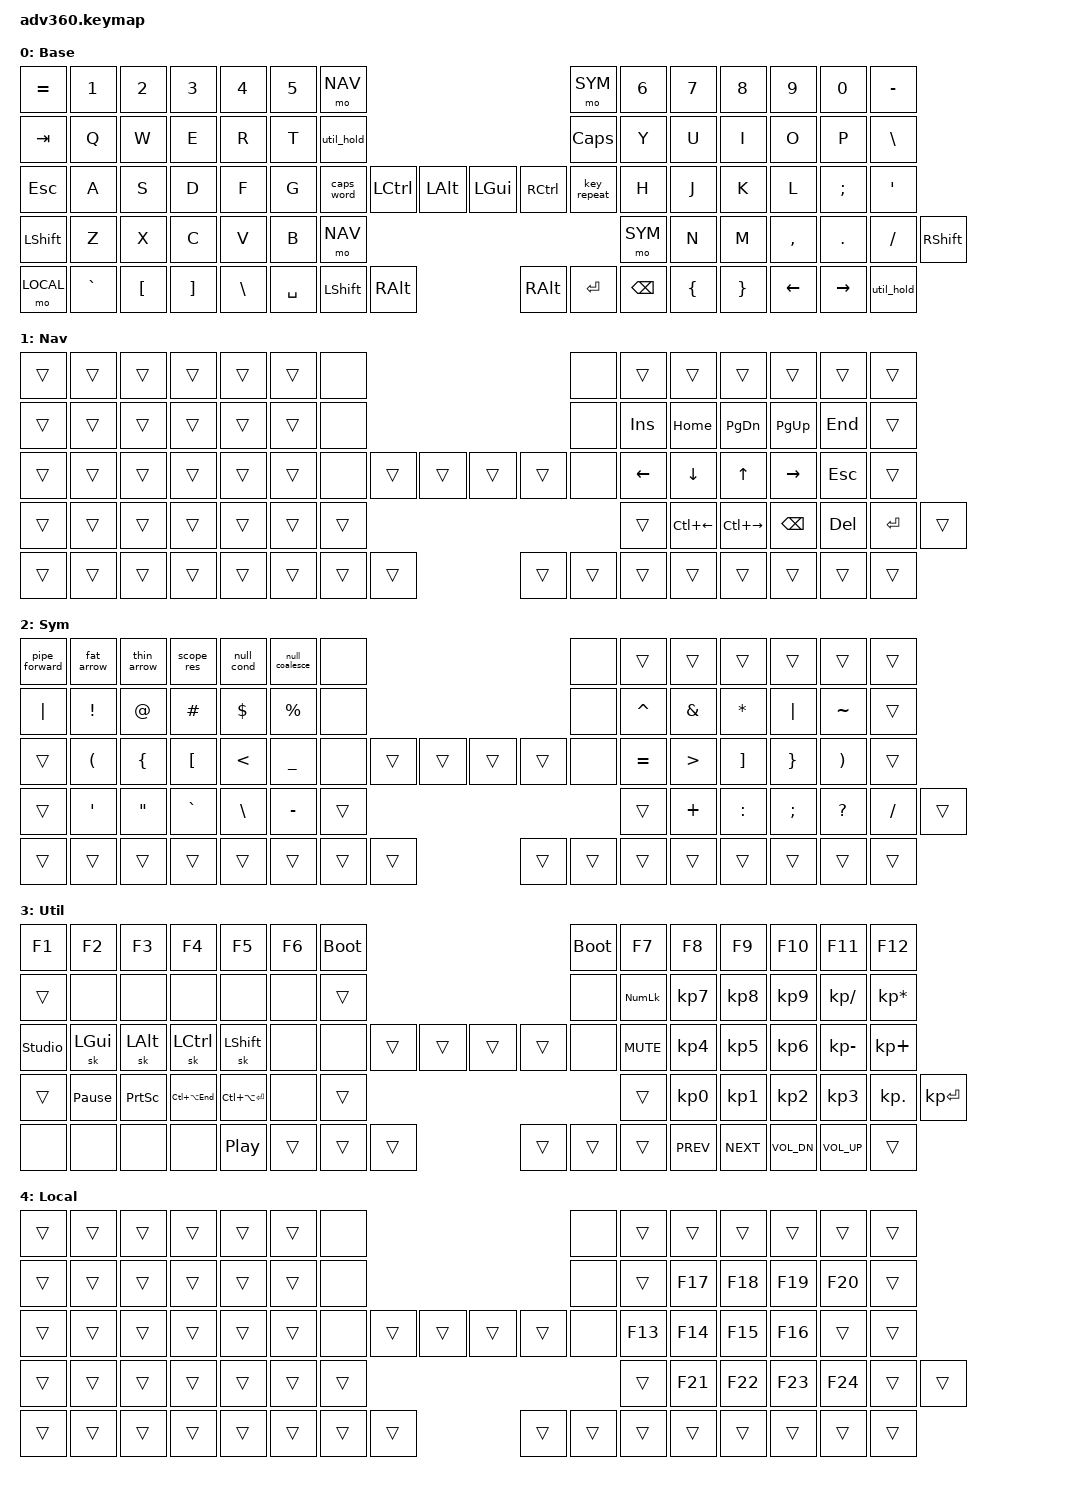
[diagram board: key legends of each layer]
#include <dt-bindings/zmk/stp.h>
#include <behaviors.dtsi>
#include <dt-bindings/zmk/keys.h>

#define BASE 0
#define NAV 1
#define SYM 2
#define UTIL 3
#define LOCAL 4

/ {
    behaviors {
        #include "macros.dtsi"
        #include "version.dtsi"
    };

    conditional_layers {
        compatible = "zmk,conditional-layers";

        nav_sym_util {
            if-layers = <NAV SYM>;
            then-layer = <UTIL>;
        };
    };

    keymap {
        compatible = "zmk,keymap";

        default_layer {
            display-name = "Base";
            bindings = <
&kp EQUAL  &kp N1     &kp N2    &kp N3    &kp N4    &kp N5  &mo NAV                                                   &mo SYM        &kp N6  &kp N7    &kp N8     &kp N9    &kp N0         &kp MINUS
&kp TAB    &kp Q      &kp W     &kp E     &kp R     &kp T   &util_hold                                                &kp CAPS       &kp Y   &kp U     &kp I      &kp O     &kp P          &kp BACKSLASH
&kp ESC    &kp A      &kp S     &kp D     &kp F     &kp G   &caps_word  &kp LCTRL  &kp LALT      &kp LGUI  &kp RCTRL  &key_repeat    &kp H   &kp J     &kp K      &kp L     &kp SEMICOLON  &kp SQT
&kp LSHFT  &kp Z      &kp X     &kp C     &kp V     &kp B                            &mo NAV       &mo SYM                                 &kp N   &kp M     &kp COMMA  &kp DOT   &kp FSLH       &kp RSHFT
&mo LOCAL  &kp GRAVE  &kp LBKT  &kp RBKT  &kp BSLH          &kp SPACE  &kp LSHFT  &kp RALT      &kp RALT  &kp ENTER   &kp BACKSPACE          &kp LBRC  &kp RBRC   &kp LEFT  &kp RIGHT      &util_hold
            >;
        };

        nav_layer {
            display-name = "Nav";
            bindings = <
&trans  &trans  &trans  &trans  &trans  &trans  &none                                       &none   &trans        &trans         &trans         &trans      &trans     &trans
&trans  &trans  &trans  &trans  &trans  &trans  &none                                       &none   &kp INS       &kp HOME       &kp PG_DN      &kp PG_UP   &kp END    &trans
&trans  &trans  &trans  &trans  &trans  &trans  &none   &trans  &trans      &trans  &trans  &none   &kp LEFT      &kp DOWN       &kp UP         &kp RIGHT   &kp ESC    &trans
&trans  &trans  &trans  &trans  &trans  &trans                  &trans      &trans                  &kp LC(LEFT)  &kp LC(RIGHT)  &kp BACKSPACE  &kp DELETE  &kp ENTER  &trans
&trans  &trans  &trans  &trans  &trans          &trans  &trans  &trans      &trans  &trans  &trans                &trans         &trans         &trans      &trans     &trans
            >;
        };

        sym_layer {
            display-name = "Sym";
            bindings = <
&pipe_forward  &fat_arrow  &thin_arrow  &scope_res  &null_cond  &null_coalesce  &none                                       &none   &trans     &trans     &trans    &trans        &trans     &trans
&kp PIPE       &kp EXCL    &kp AT       &kp HASH    &kp DOLLAR  &kp PERCENT     &none                                       &none   &kp CARET  &kp AMPS   &kp STAR  &kp PIPE      &kp TILDE  &trans
&trans         &kp LPAR    &kp LBRC     &kp LBKT    &kp LT      &kp UNDER       &none   &trans  &trans      &trans  &trans  &none   &kp EQUAL  &kp GT     &kp RBKT  &kp RBRC      &kp RPAR   &trans
&trans         &kp SQT     &kp DQT      &kp GRAVE   &kp BSLH    &kp MINUS                       &trans      &trans                  &kp PLUS   &kp COLON  &kp SEMI  &kp QUESTION  &kp FSLH   &trans
&trans         &trans      &trans       &trans      &trans                      &trans  &trans  &trans      &trans  &trans  &trans             &trans     &trans    &trans        &trans     &trans
            >;
        };

        util_layer {
            display-name = "Util";
            bindings = <
&kp F1          &kp F2           &kp F3           &kp F4           &kp F5                   &kp F6        &bootloader                                      &bootloader  &kp F7      &kp F8     &kp F9     &kp F10     &kp F11       &kp F12
&trans          &none            &none            &none            &none                    &none         &trans                                           &none        &kp KP_NUM  &kp KP_N7  &kp KP_N8  &kp KP_N9   &kp KP_DIVIDE  &kp KP_MULTIPLY
&studio_unlock  &sk LGUI         &sk LALT         &sk LCTRL        &sk LSHFT                &none         &none         &trans  &trans      &trans  &trans  &none         &kp C_MUTE  &kp KP_N4  &kp KP_N5  &kp KP_N6  &kp KP_MINUS  &kp KP_PLUS
&trans          &kp PAUSE_BREAK  &kp PRINTSCREEN  &kp LC(LA(END))  &kp LC(LA(ENTER))        &none                              &trans      &trans                       &kp KP_N0  &kp KP_N1  &kp KP_N2  &kp KP_N3  &kp KP_DOT  &kp KP_ENTER
&none           &none            &none            &none            &kp C_PLAY_PAUSE                        &trans       &trans  &trans      &trans  &trans  &trans                   &kp C_PREV  &kp C_NEXT  &kp C_VOL_DN  &kp C_VOL_UP  &trans
            >;
        };

        local_layer {
            display-name = "Local";
            bindings = <
&trans  &trans  &trans  &trans  &trans  &trans  &none                                       &none   &trans   &trans   &trans   &trans   &trans   &trans
&trans  &trans  &trans  &trans  &trans  &trans  &none                                       &none   &trans   &kp F17  &kp F18  &kp F19  &kp F20  &trans
&trans  &trans  &trans  &trans  &trans  &trans  &none   &trans  &trans      &trans  &trans  &none   &kp F13  &kp F14  &kp F15  &kp F16  &trans   &trans
&trans  &trans  &trans  &trans  &trans  &trans                  &trans      &trans                  &kp F21  &kp F22  &kp F23  &kp F24  &trans   &trans
&trans  &trans  &trans  &trans  &trans          &trans  &trans  &trans      &trans  &trans  &trans           &trans   &trans   &trans   &trans   &trans
            >;
        };
    };
};
